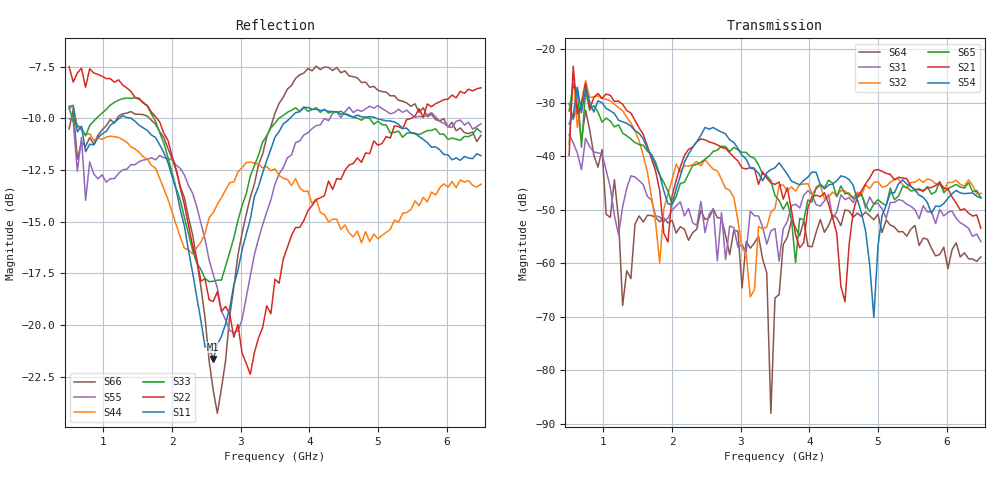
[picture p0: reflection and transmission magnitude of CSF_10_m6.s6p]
!Keysight Technologies,M9804A,MY58100912,A.14.10.03
!Date: Thursday, April 27, 2023 10:28:33
!Correction: S11(C  6-Port  )
!S12(C  6-Port  )
!S13(C  6-Port  )
!S14(C  6-Port  )
!S15(C  6-Port  )
!S16(C  6-Port  )
!S21(C  6-Port  )
!S22(C  6-Port  )
!S23(C  6-Port  )
!S24(C  6-Port  )
!S25(C  6-Port  )
!S26(C  6-Port  )
!S31(C  6-Port  )
!S32(C  6-Port  )
!S33(C  6-Port  )
!S34(C  6-Port  )
!S35(C  6-Port  )
!S36(C  6-Port  )
!S41(C  6-Port  )
!S42(C  6-Port  )
!S43(C  6-Port  )
!S44(C  6-Port  )
!S45(C  6-Port  )
!S46(C  6-Port  )
!S51(C  6-Port  )
!S52(C  6-Port  )
!S53(C  6-Port  )
!S54(C  6-Port  )
!S55(C  6-Port  )
!S56(C  6-Port  )
!S61(C  6-Port  )
!S62(C  6-Port  )
!S63(C  6-Port  )
!S64(C  6-Port  )
!S65(C  6-Port  )
!S66(C  6-Port  )
!S6P File: Measurement: :
# Hz S  RI  R 50
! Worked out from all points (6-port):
!   101 points, 500 MHz to 6.5 GHz, reference 50 ohm
!   strongest paths, dB at 500 MHz, 2 GHz, 3.5 GHz, 5 GHz, 6.5 GHz:
!     S54: -34.0, -49.1, -42.2, -56.9, -47.8
!     S21: -39.8, -47.4, -45.3, -42.5, -53.5
!     S65: -31.6, -49.0, -47.4, -48.1, -47.8
!     S32: -37.8, -44.4, -49.8, -44.8, -47.0
!     S31: -36.0, -50.1, -53.5, -48.8, -56.0
!     S64: -30.2, -52.0, -66.5, -50.8, -58.8
!   lowest |S11| = -21.6 dB at 2.6 GHz (marker M1), VSWR 1.18, Z = 42.6 + j2.04 ohm
!   |S11| at or under -10 dB: 588.9 MHz to 1.233 GHz (644.5 MHz wide, 70.7 % of centre); 1.402 GHz to 3.719 GHz (2.317 GHz wide, 90.5 % of centre); 4.973 GHz to end of sweep
